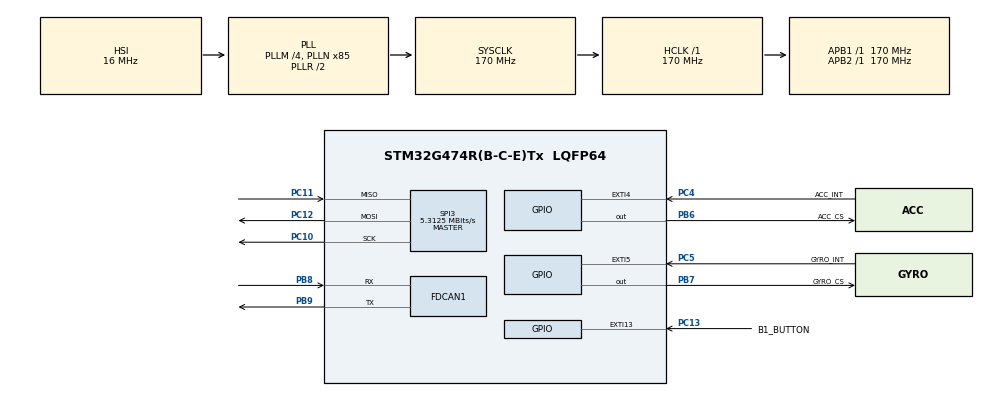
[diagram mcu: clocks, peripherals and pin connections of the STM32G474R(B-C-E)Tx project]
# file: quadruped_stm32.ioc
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FDCAN1.AutoRetransmission=ENABLE
FDCAN1.CalculateBaudRateNominal=999999
FDCAN1.CalculateTimeBitNominal=1000
FDCAN1.CalculateTimeQuantumNominal=58.82352941176471
FDCAN1.ExtFiltersNbr=1
FDCAN1.NominalPrescaler=10
FDCAN1.NominalTimeSeg1=13
FDCAN1.NominalTimeSeg2=3
Mcu.Family=STM32G4
Mcu.Name=STM32G474R(B-C-E)Tx
Mcu.Package=LQFP64
NUCLEO-G474RE.BUTTON=1
NUCLEO-G474RE.LD2=true
NUCLEO-G474RE.VCP=true
NVIC.EXTI15_10_IRQn=true\:0\:0\:false\:false\:true\:false\:true\:true
NVIC.EXTI4_IRQn=true\:0\:0\:false\:false\:true\:true\:true\:true
NVIC.EXTI9_5_IRQn=true\:0\:0\:false\:false\:true\:true\:true\:true
NVIC.FDCAN1_IT0_IRQn=true\:0\:0\:false\:false\:true\:true\:true\:true
NVIC.PriorityGroup=NVIC_PRIORITYGROUP_4
PA13.GPIO_Label=T_SWDIO
PA13.Signal=SYS_JTMS-SWDIO
PA14.GPIO_Label=T_SWCLK
PA14.Signal=SYS_JTCK-SWCLK
PA2.Signal=LPUART1_TX
PA3.Signal=LPUART1_RX
PB3.GPIO_Label=T_SWO
PB3.Signal=SYS_JTDO-SWO
PB6.GPIO_Label=ACC_CS
PB6.PinState=GPIO_PIN_SET
PB6.Signal=GPIO_Output
PB7.GPIO_Label=GYRO_CS
PB7.PinState=GPIO_PIN_SET
PB7.Signal=GPIO_Output
PB8-BOOT0.Mode=FDCAN_Activate
PB8-BOOT0.Signal=FDCAN1_RX
PB9.Mode=FDCAN_Activate
PB9.Signal=FDCAN1_TX
PC10.Mode=Full_Duplex_Master
PC10.Signal=SPI3_SCK
PC11.Mode=Full_Duplex_Master
PC11.Signal=SPI3_MISO
PC12.Mode=Full_Duplex_Master
PC12.Signal=SPI3_MOSI
PC13.GPIO_Label=B1_BUTTON
PC13.GPIO_ModeDefaultEXTI=GPIO_MODE_IT_FALLING
PC13.GPIO_PuPd=GPIO_PULLUP
PC13.Signal=GPXTI13
PC14-OSC32_IN.GPIO_Label=RCC_OSC32_IN
PC14-OSC32_IN.Signal=RCC_OSC32_IN
PC15-OSC32_OUT.GPIO_Label=RCC_OSC32_OUT
PC15-OSC32_OUT.Signal=RCC_OSC32_OUT
PC4.GPIO_Label=ACC_INT
PC4.Signal=GPXTI4
PC5.GPIO_Label=GYRO_INT
PC5.Signal=GPXTI5
PF0-OSC_IN.GPIO_Label=RCC_OSC_IN
PF0-OSC_IN.Signal=RCC_OSC_IN
PF1-OSC_OUT.GPIO_Label=RCC_OSC_OUT
PF1-OSC_OUT.Signal=RCC_OSC_OUT
ProjectManager.HeapSize=0x200
ProjectManager.StackSize=0x400
ProjectManager.TargetToolchain=STM32CubeIDE
RCC.ADC12Freq_Value=170000000
RCC.ADC345Freq_Value=170000000
RCC.AHBFreq_Value=170000000
RCC.APB1Freq_Value=170000000
RCC.APB1TimFreq_Value=170000000
RCC.APB2Freq_Value=170000000
RCC.APB2TimFreq_Value=170000000
RCC.CortexFreq_Value=170000000
RCC.EXTERNAL_CLOCK_VALUE=12288000
RCC.HCLKFreq_Value=170000000
RCC.HSE_VALUE=24000000
RCC.HSI48_VALUE=48000000
RCC.HSI_VALUE=16000000
RCC.LSE_VALUE=32768
RCC.PLLM=RCC_PLLM_DIV4
RCC.PLLN=85
RCC.RTCClockSelection=RCC_RTCCLKSOURCE_LSE
RCC.SYSCLKFreq_VALUE=170000000
RCC.SYSCLKSource=RCC_SYSCLKSOURCE_PLLCLK
RCC.USBFreq_Value=170000000
RCC.VCOOutputFreq_Value=340000000
SPI3.BaudRatePrescaler=SPI_BAUDRATEPRESCALER_32
SPI3.CalculateBaudRate=5.3125 MBits/s
SPI3.DataSize=SPI_DATASIZE_8BIT
SPI3.Direction=SPI_DIRECTION_2LINES
SPI3.Mode=SPI_MODE_MASTER
SPI3.NSSPMode=SPI_NSS_PULSE_DISABLE
SPI3.VirtualType=VM_MASTER
VP_NUCLEO-G474RE_VS_BSP_COMMON.Mode=COMMON
VP_SYS_VS_DBSignals.Mode=DisableDeadBatterySignals
board=NUCLEO-G474RE

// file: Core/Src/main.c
/* USER CODE BEGIN Header */
/**
 ******************************************************************************
 * @file           : main.c
 * @brief          : Main program body
 ******************************************************************************
 * @attention
 *
 * Copyright (c) 2026 STMicroelectronics.
 * All rights reserved.
 *
 * This software is licensed under terms that can be found in the LICENSE file
 * in the root directory of this software component.
 * If no LICENSE file comes with this software, it is provided AS-IS.
 *
 ******************************************************************************
 */
/* USER CODE END Header */
#include "main.h"

/* USER CODE BEGIN Includes */
#include "bmi088.h"
#include "robstride_can.h"
#include "robot_joints.h"
#include <stdio.h>

/* USER CODE END Includes */

/* USER CODE BEGIN PTD */

typedef enum
{
    POSE_DISABLED,
    POSE_STOPPING,
    POSE_TRANSITIONING,
    POSE_HOLDING
} PoseState_t;

/* Which pose is selected is separate from whether it is moving or holding. */
typedef enum
{
    TARGET_RETRACTED,
    TARGET_STANDING,
    TARGET_RETRACTED_BEFORE_REST,
    TARGET_RESTING
} PoseTarget_t;

typedef struct
{
    MotorId_t joint;
    const char *name;
    float target_rad;
} JointTarget_t;

/* USER CODE END PTD */

/* USER CODE BEGIN PD */
#define COMMAND_INTERVAL_MS 20U
#define COMMAND_BATCH_TIMEOUT_MS 50U

/* USER CODE END PD */

COM_InitTypeDef BspCOMInit;
FDCAN_HandleTypeDef hfdcan1;

SPI_HandleTypeDef hspi3;

/* USER CODE BEGIN PV */
static const JointTarget_t standing_targets[] =
    {
        {MOTOR_FL_HAA, "FL_HAA", 0.0f},
        {MOTOR_FL_HFE, "FL_HFE", -0.7f},
        {MOTOR_FL_KFE, "FL_KFE", 1.2f},
        {MOTOR_FR_HAA, "FR_HAA", 0.0f},
        {MOTOR_FR_HFE, "FR_HFE", -0.7f},
        {MOTOR_FR_KFE, "FR_KFE", 1.2f},
        {MOTOR_RL_HAA, "RL_HAA", 0.0f},
        {MOTOR_RL_HFE, "RL_HFE", -0.7f},
        {MOTOR_RL_KFE, "RL_KFE", 1.2f},
        {MOTOR_RR_HAA, "RR_HAA", 0.0f},
        {MOTOR_RR_HFE, "RR_HFE", -0.7f},
        {MOTOR_RR_KFE, "RR_KFE", 1.2f}};

static const JointTarget_t retracted_targets[] =
    {
        {MOTOR_FL_HAA, "FL_HAA", 0.0f},
        {MOTOR_FL_HFE, "FL_HFE", -0.852f},
        {MOTOR_FL_KFE, "FL_KFE", 2.34f},
        {MOTOR_FR_HAA, "FR_HAA", 0.0f},
        {MOTOR_FR_HFE, "FR_HFE", -0.853f},
        {MOTOR_FR_KFE, "FR_KFE", 2.34f},
        {MOTOR_RL_HAA, "RL_HAA", 0.0f},
        {MOTOR_RL_HFE, "RL_HFE", -0.877f},
        {MOTOR_RL_KFE, "RL_KFE", 2.34f},
        {MOTOR_RR_HAA, "RR_HAA", 0.0f},
        {MOTOR_RR_HFE, "RR_HFE", -0.857f},
        {MOTOR_RR_KFE, "RR_KFE", 2.34f}};

static const JointTarget_t resting_targets[] =
    {
        {MOTOR_FL_HAA, "FL_HAA", -0.47f},
        {MOTOR_FL_HFE, "FL_HFE", -0.852f},
        {MOTOR_FL_KFE, "FL_KFE", 2.34f},
        {MOTOR_FR_HAA, "FR_HAA", -0.47f},
        {MOTOR_FR_HFE, "FR_HFE", -0.853f},
        {MOTOR_FR_KFE, "FR_KFE", 2.34f},
        {MOTOR_RL_HAA, "RL_HAA", -0.47f},
        {MOTOR_RL_HFE, "RL_HFE", -0.877f},
        {MOTOR_RL_KFE, "RL_KFE", 2.34f},
        {MOTOR_RR_HAA, "RR_HAA", -0.47f},
        {MOTOR_RR_HFE, "RR_HFE", -0.857f},
        {MOTOR_RR_KFE, "RR_KFE", 2.34f}};

#define POSE_JOINT_COUNT (sizeof(standing_targets) / sizeof(standing_targets[0]))

_Static_assert(POSE_JOINT_COUNT == ROBSTRIDE_MOTOR_COUNT, "Pose must cover all motors");
_Static_assert(sizeof(retracted_targets) == sizeof(standing_targets), "Pose sizes must match");
_Static_assert(sizeof(resting_targets) == sizeof(standing_targets), "Pose sizes must match");

static const JointTarget_t *active_targets = retracted_targets;
static PoseTarget_t selected_pose = TARGET_RETRACTED;
static const char *active_pose_name = "retracted";

float start_positions_rad[POSE_JOINT_COUNT];
uint32_t transition_start_ms;
uint32_t last_command_ms;
uint32_t last_batch_duration_ms = 0;
uint32_t max_batch_duration_ms = 0;
uint8_t next_joint_index = 0;
uint8_t batch_in_progress = 0;
uint32_t batch_start_ms;
float batch_progress = 0.0f;
uint32_t last_batch_gap_ms = 0;
uint32_t max_batch_gap_ms = 0;
uint8_t have_previous_batch = 0;
/* Powered actuators may still be active after an MCU-only reset. */
PoseState_t pose_state = POSE_STOPPING;

volatile uint8_t acc_data_ready = 0;
volatile uint8_t gyro_data_ready = 0;
volatile uint8_t user_button_pressed = 0;
volatile uint32_t last_button_irq = 0;

volatile uint32_t acc_irq_count = 0;
volatile uint32_t gyro_irq_count = 0;
/* USER CODE END PV */

void SystemClock_Config(void);
static void MX_GPIO_Init(void);
static void MX_FDCAN1_Init(void);
static void MX_SPI3_Init(void);

/* USER CODE BEGIN 0 */
static const char *JointHealthReason(JointResult_t result)
{
    switch (result)
    {
        case JOINT_OK: return "healthy";
        case JOINT_INVALID_ID: return "invalid joint ID";
        case JOINT_OFFLINE: return "offline or state unavailable";
        case JOINT_FAULT: return "motor fault reported";
        case JOINT_NO_FEEDBACK: return "no measurement feedback received";
        case JOINT_STALE_FEEDBACK: return "measurement feedback stale";
        default: return "unexpected joint result";
    }
}

/* Supported-test policy: cancel motion and request all motors stop.
 * Disabling removes support; this is not a controlled ground-standing recovery.
 */
static void MonitorPoseHealth(void)
{
    if (pose_state != POSE_TRANSITIONING && pose_state != POSE_HOLDING)
    {
        return;
    }

    for (uint8_t i = 0; i < POSE_JOINT_COUNT; i++)
    {
        JointResult_t health = RobotJoints_CheckHealth(active_targets[i].joint);
        if (health != JOINT_OK)
        {
            batch_in_progress = 0;
            pose_state = POSE_STOPPING;
            user_button_pressed = 0;
            /* Report once: subsequent checks skip POSE_STOPPING. */
            printf("%s unhealthy: %s; requesting all motors stop\r\n",
                   active_targets[i].name, JointHealthReason(health));
            return;
        }
    }
}

/* Return true only when every stop request was queued successfully. */
static uint8_t StopAllJoints(void)
{
    uint8_t all_stopped = 1;

    for (uint8_t i = 0; i < POSE_JOINT_COUNT; i++)
    {
        JointResult_t result = RobotJoints_Stop(active_targets[i].joint);
        if (result != JOINT_OK)
        {
            printf("%s stop failed: %d\r\n", active_targets[i].name, result);
            all_stopped = 0;
        }
        HAL_Delay(2);
        RobStride_CAN_Process();
    }

    batch_in_progress = 0;
    if (all_stopped)
    {
        /* Discard presses received while stop requests were being submitted. */
        user_button_pressed = 0;
        pose_state = POSE_DISABLED;
        selected_pose = TARGET_RETRACTED;
        active_targets = retracted_targets;
        active_pose_name = "retracted";
    }

    return all_stopped;
}

/* Validate the whole destination and capture measured starts before moving. */
static void StartPoseTransition(PoseTarget_t requested_pose)
{
    if (pose_state != POSE_DISABLED && pose_state != POSE_HOLDING)
    {
        return;
    }

    const JointTarget_t *targets;
    const char *name;

    switch (requested_pose)
    {
        case TARGET_RETRACTED:
            targets = retracted_targets;
            name = "retracted";
            break;
        case TARGET_STANDING:
            targets = standing_targets;
            name = "standing";
            break;
        case TARGET_RETRACTED_BEFORE_REST:
            targets = retracted_targets;
            name = "retracted before resting";
            break;
        case TARGET_RESTING:
            targets = resting_targets;
            name = "resting";
            break;
        default:
            return;
    }

    uint8_t targets_valid = 1;
    for (uint8_t i = 0; i < POSE_JOINT_COUNT; i++)
    {
        if (RobotJoints_ValidatePosition(targets[i].joint,
                                        targets[i].target_rad) != JOINT_OK)
        {
            printf("%s rejected: %s target=%+.5f rad outside command limits\r\n",
                   name, targets[i].name, targets[i].target_rad);
            targets_valid = 0;
        }
    }
    if (!targets_valid)
    {
        return;
    }

    RobStride_CAN_Process();
    RobStride_UpdateOnlineStatus();
    uint8_t ready = 1;
    for (uint8_t i = 0; i < POSE_JOINT_COUNT; i++)
    {
        JointState_t state;
        JointResult_t health = RobotJoints_CheckHealth(targets[i].joint);
        if (health != JOINT_OK)
        {
            printf("%s not ready: %s\r\n",
                   targets[i].name, JointHealthReason(health));
            ready = 0;
        }
        else if (!RobotJoints_GetState(targets[i].joint, &state))
        {
            printf("%s not ready: state unavailable\r\n", targets[i].name);
            ready = 0;
        }
        else if (!RobotJoints_PrepareStartPosition(targets[i].joint,
                                                  state.position_rad,
                                                  &start_positions_rad[i]))
        {
            printf("%s starting position rejected: %+.5f rad\r\n",
                   targets[i].name, state.position_rad);
            ready = 0;
        }
    }
    if (!ready)
    {
        if (pose_state != POSE_DISABLED)
        {
            batch_in_progress = 0;
            pose_state = POSE_STOPPING;
        }
        return;
    }

    /* Motors stay enabled between poses; only the first press enables them. */
    if (pose_state == POSE_DISABLED)
    {
        for (uint8_t i = 0; i < POSE_JOINT_COUNT; i++)
        {
            JointResult_t result = RobotJoints_Enable(targets[i].joint);
            if (result != JOINT_OK)
            {
                printf("%s enable failed: %d\r\n", targets[i].name, result);
                batch_in_progress = 0;
                pose_state = POSE_STOPPING;
                return;
            }
            HAL_Delay(2);
            RobStride_CAN_Process();
        }
    }

    active_targets = targets;
    selected_pose = requested_pose;
    active_pose_name = name;
    next_joint_index = 0;
    batch_in_progress = 0;
    batch_progress = 0.0f;
    have_previous_batch = 0;
    last_batch_gap_ms = 0;
    max_batch_gap_ms = 0;
    last_batch_duration_ms = 0;
    max_batch_duration_ms = 0;

    printf("Moving to %s over 2 seconds\r\n", name);
    transition_start_ms = HAL_GetTick();
    last_command_ms = transition_start_ms - COMMAND_INTERVAL_MS;
    pose_state = POSE_TRANSITIONING;
}

/* USER CODE END 0 */

int main(void)
{

    /* MCU Configuration--------------------------------------------------------*/

    /* Reset of all peripherals, Initializes the Flash interface and the Systick. */
    HAL_Init();

    /* Configure the system clock */
    SystemClock_Config();

    /* Initialize all configured peripherals */
    MX_GPIO_Init();
    MX_FDCAN1_Init();
    MX_SPI3_Init();

    /* Initialize led */
    BSP_LED_Init(LED_GREEN);

    /* Initialize USER push-button, will be used to trigger an interrupt each time it's pressed.*/
    BSP_PB_Init(BUTTON_USER, BUTTON_MODE_EXTI);

    /* Initialize COM1 port (115200, 8 bits (7-bit data + 1 stop bit), no parity */
    BspCOMInit.BaudRate = 115200;
    BspCOMInit.WordLength = COM_WORDLENGTH_8B;
    BspCOMInit.StopBits = COM_STOPBITS_1;
    BspCOMInit.Parity = COM_PARITY_NONE;
    BspCOMInit.HwFlowCtl = COM_HWCONTROL_NONE;
    if (BSP_COM_Init(COM1, &BspCOMInit) != BSP_ERROR_NONE)
    {
        Error_Handler();
    }

    /* Infinite loop */
    /* USER CODE BEGIN WHILE */

    RobotJoints_Init();

    if (!RobStride_CAN_Init())
    {
        printf("CAN init failed; startup blocked, motor stops not confirmed\r\n");
        Error_Handler();
    }
    else
    {
        printf("CAN init success\r\n");

        /* Stop before discovery, reporting setup, or IMU initialization.
         * RobotJoints_Stop does not require a motor to be discovered/online.
         * Stay here on submission failure; pose/button handling cannot run.
         */
        while (!StopAllJoints())
        {
            user_button_pressed = 0;
        }
        printf("Startup: all 12 stop requests queued; motor disable unconfirmed\r\n");

        RobStride_RequestAllDeviceIDs();

        HAL_Delay(200);

        /*
         * responses are sitting in FIFO0,
         * so process them before inspecting states.
         */
        RobStride_CAN_Process();

        RobStride_SetAllActiveReporting(1);

        uint8_t online_count = 0;

        for (uint8_t id = 1; id <= ROBSTRIDE_MOTOR_COUNT; id++)
        {
            const RobStride_Motor_t *motor =
                RobStride_GetMotor((MotorId_t)id);

            if (motor != NULL && motor->online)
            {
                printf("Motor %2u: ONLINE\r\n", id);
                online_count++;
            }
            else
            {
                printf("Motor %2u: OFFLINE\r\n", id);
            }
        }

        printf("%u/%u motors online\r\n",
               online_count,
               ROBSTRIDE_MOTOR_COUNT);
    }

    if (!BMI088_Init())
    {
        printf("BMI088 init failed\r\n");
    }
    else
    {
        printf("BMI088 init success\r\n");
    }

    printf("Feedback timeout: %lu ms (provisional supported-test limit)\r\n",
           (unsigned long)ROBOT_FEEDBACK_TIMEOUT_MS);
    printf("Startup complete; press button to begin\r\n");
    /* Also discard presses during discovery, IMU init, and startup logging. */
    user_button_pressed = 0;

    uint32_t last_joint_print = 0;

    while (1)
    {
        RobStride_CAN_Process();

        RobStride_UpdateOnlineStatus();

        MonitorPoseHealth();

        if ((pose_state == POSE_DISABLED || pose_state == POSE_HOLDING) &&
            HAL_GetTick() - last_joint_print >= 800)
        {
            last_joint_print = HAL_GetTick();
            printf("Pose: %s, %s\r\n", active_pose_name,
                   pose_state == POSE_DISABLED ? "DISABLED (next target)" : "HOLDING");

            for (uint8_t id = 1; id <= ROBSTRIDE_MOTOR_COUNT; id++)
            {
                JointState_t state;

                if (RobotJoints_GetState((MotorId_t)id, &state))
                {
                    printf(
                        "Motor %2u: joint=%+.4f rad, torque=%+.3f Nm, temp=%.1f C, %s",
                        id,
                        state.position_rad,
                        state.torque_nm,
                        state.temperature_c,
                        state.online ? "ONLINE" : "OFFLINE");
                    if (state.feedback_received)
                    {
                        printf(", feedback age=%lu ms, gap last/max=%lu/%lu ms%s",
                               (unsigned long)state.feedback_age_ms,
                               (unsigned long)state.feedback_gap_last_ms,
                               (unsigned long)state.feedback_gap_max_ms,
                               state.feedback_age_ms >= ROBOT_FEEDBACK_TIMEOUT_MS
                                   ? " STALE" : "");
                    }
                    else
                    {
                        printf(", NO MEASUREMENT FEEDBACK");
                    }
                    for (uint8_t i = 0; i < POSE_JOINT_COUNT; i++)
                    {
                        if ((MotorId_t)id == active_targets[i].joint)
                        {
                            /* Signed remaining angle: target minus feedback. */
                            printf(
                                ", %s target=%+.4f rad, error=%+.4f rad",
                                active_targets[i].name,
                                active_targets[i].target_rad,
                                active_targets[i].target_rad - state.position_rad);
                            break;
                        }
                    }
                    printf("\r\n");
                }
                else
                {
                    printf("Motor %2u: state unavailable\r\n", id);
                }
                /* Service feedback between the blocking serial output lines. */
                RobStride_CAN_Process();
                RobStride_UpdateOnlineStatus();
                MonitorPoseHealth();
                if (pose_state == POSE_STOPPING)
                {
                    break;
                }
            }
            if (pose_state != POSE_STOPPING)
            {
                printf(
                    "Batch duration: last=%lu max=%lu ms; "
                    "start gap: last=%lu max=%lu ms\r\n",
                    (unsigned long)last_batch_duration_ms,
                    (unsigned long)max_batch_duration_ms,
                    (unsigned long)last_batch_gap_ms,
                    (unsigned long)max_batch_gap_ms
                );
            }
        }

        if (user_button_pressed)
        {
            user_button_pressed = 0;

            if (pose_state == POSE_TRANSITIONING)
            {
                printf("Still moving to %s; press again after the ramp finishes\r\n",
                       active_pose_name);
            }
            else if (pose_state == POSE_STOPPING)
            {
                /* The stop handler below retries all stop requests. */
            }
            else if (pose_state == POSE_DISABLED)
            {
                StartPoseTransition(TARGET_RETRACTED);
            }
            else if (selected_pose == TARGET_RETRACTED)
            {
                StartPoseTransition(TARGET_STANDING);
            }
            else if (selected_pose == TARGET_STANDING)
            {
                StartPoseTransition(TARGET_RETRACTED_BEFORE_REST);
            }
            else if (selected_pose == TARGET_RETRACTED_BEFORE_REST)
            {
                StartPoseTransition(TARGET_RESTING);
            }
            else
            {
                batch_in_progress = 0;
                pose_state = POSE_STOPPING;
            }
        }
        /* Starting a pose can process new feedback while enabling motors.
         * Recheck it before submitting any position command.
         */
        RobStride_CAN_Process();
        RobStride_UpdateOnlineStatus();
        MonitorPoseHealth();

        if (pose_state == POSE_TRANSITIONING)
        {
            uint32_t now = HAL_GetTick();

            /* Start a new batch only when the previous one is finished and time is due. */
            if (!batch_in_progress &&
                now - last_command_ms >= COMMAND_INTERVAL_MS)
            {
                if (have_previous_batch)
                {
                    last_batch_gap_ms = now - last_command_ms;

                    if (last_batch_gap_ms > max_batch_gap_ms)
                    {
                        max_batch_gap_ms = last_batch_gap_ms;
                    }
                }

                have_previous_batch = 1;

                next_joint_index = 0;
                batch_start_ms = now;
                last_command_ms = now;

                uint32_t elapsed_ms = now - transition_start_ms;
                batch_progress = (float)elapsed_ms / 2000.0f;

                if (batch_progress > 1.0f)
                {
                    batch_progress = 1.0f;
                }

                batch_in_progress = 1;
            }

            if (batch_in_progress &&
                now - batch_start_ms >= COMMAND_BATCH_TIMEOUT_MS)
            {
                batch_in_progress = 0;
                pose_state = POSE_STOPPING;

                printf("Batch timeout: queued %u/%u commands\r\n",
                    (unsigned int)next_joint_index,
                    (unsigned int)POSE_JOINT_COUNT);
            }

            /* Attempt at most one command per main-loop pass. */
            if (batch_in_progress && RobStride_CAN_CanSend())
            {
                uint8_t i = next_joint_index;

                float s = batch_progress;
                float smooth_progress = s * s * (3.0f - 2.0f * s);

                float target =
                    start_positions_rad[i]
                    + (active_targets[i].target_rad - start_positions_rad[i])
                    * smooth_progress;

                JointResult_t result = RobotJoints_Command(
                    active_targets[i].joint,
                    target,
                    0.0f,
                    0.0f,
                    60.0f,
                    5.0f);

                if (result != JOINT_OK)
                {
                    printf("%s command failed: %d\r\n",
                        active_targets[i].name, result);

                    batch_in_progress = 0;
                    pose_state = POSE_STOPPING;
                }
                else
                {
                    next_joint_index++;

                    if (next_joint_index == POSE_JOINT_COUNT)
                    {
                        batch_in_progress = 0;

                        last_batch_duration_ms =
                            HAL_GetTick() - batch_start_ms;

                        if (last_batch_duration_ms > max_batch_duration_ms)
                        {
                            max_batch_duration_ms = last_batch_duration_ms;
                        }

                        if (batch_progress >= 1.0f)
                        {
                            pose_state = POSE_HOLDING;
                            printf("%s ramp finished; final targets queued\r\n",
                                   active_pose_name);
                        }
                    }
                }
            }
        }

        if (pose_state == POSE_STOPPING)
        {
            if (StopAllJoints())
            {
                printf("All 12 joint stop requests queued\r\n");
            }
        }
    }
    /* USER CODE END WHILE */

}

void SystemClock_Config(void)
{
    RCC_OscInitTypeDef RCC_OscInitStruct = {0};
    RCC_ClkInitTypeDef RCC_ClkInitStruct = {0};

    /** Configure the main internal regulator output voltage
     */
    HAL_PWREx_ControlVoltageScaling(PWR_REGULATOR_VOLTAGE_SCALE1_BOOST);

    /** Initializes the RCC Oscillators according to the specified parameters
     * in the RCC_OscInitTypeDef structure.
     */
    RCC_OscInitStruct.OscillatorType = RCC_OSCILLATORTYPE_HSI;
    RCC_OscInitStruct.HSIState = RCC_HSI_ON;
    RCC_OscInitStruct.HSICalibrationValue = RCC_HSICALIBRATION_DEFAULT;
    RCC_OscInitStruct.PLL.PLLState = RCC_PLL_ON;
    RCC_OscInitStruct.PLL.PLLSource = RCC_PLLSOURCE_HSI;
    RCC_OscInitStruct.PLL.PLLM = RCC_PLLM_DIV4;
    RCC_OscInitStruct.PLL.PLLN = 85;
    RCC_OscInitStruct.PLL.PLLP = RCC_PLLP_DIV2;
    RCC_OscInitStruct.PLL.PLLQ = RCC_PLLQ_DIV2;
    RCC_OscInitStruct.PLL.PLLR = RCC_PLLR_DIV2;
    if (HAL_RCC_OscConfig(&RCC_OscInitStruct) != HAL_OK)
    {
        Error_Handler();
    }

    /** Initializes the CPU, AHB and APB buses clocks
     */
    RCC_ClkInitStruct.ClockType = RCC_CLOCKTYPE_HCLK | RCC_CLOCKTYPE_SYSCLK | RCC_CLOCKTYPE_PCLK1 | RCC_CLOCKTYPE_PCLK2;
    RCC_ClkInitStruct.SYSCLKSource = RCC_SYSCLKSOURCE_PLLCLK;
    RCC_ClkInitStruct.AHBCLKDivider = RCC_SYSCLK_DIV1;
    RCC_ClkInitStruct.APB1CLKDivider = RCC_HCLK_DIV1;
    RCC_ClkInitStruct.APB2CLKDivider = RCC_HCLK_DIV1;

    if (HAL_RCC_ClockConfig(&RCC_ClkInitStruct, FLASH_LATENCY_4) != HAL_OK)
    {
        Error_Handler();
    }
}

static void MX_FDCAN1_Init(void)
{

    hfdcan1.Instance = FDCAN1;
    hfdcan1.Init.ClockDivider = FDCAN_CLOCK_DIV1;
    hfdcan1.Init.FrameFormat = FDCAN_FRAME_CLASSIC;
    hfdcan1.Init.Mode = FDCAN_MODE_NORMAL;
    hfdcan1.Init.AutoRetransmission = ENABLE;
    hfdcan1.Init.TransmitPause = DISABLE;
    hfdcan1.Init.ProtocolException = DISABLE;
    hfdcan1.Init.NominalPrescaler = 10;
    hfdcan1.Init.NominalSyncJumpWidth = 1;
    hfdcan1.Init.NominalTimeSeg1 = 13;
    hfdcan1.Init.NominalTimeSeg2 = 3;
    hfdcan1.Init.DataPrescaler = 1;
    hfdcan1.Init.DataSyncJumpWidth = 1;
    hfdcan1.Init.DataTimeSeg1 = 1;
    hfdcan1.Init.DataTimeSeg2 = 1;
    hfdcan1.Init.StdFiltersNbr = 0;
    hfdcan1.Init.ExtFiltersNbr = 1;
    hfdcan1.Init.TxFifoQueueMode = FDCAN_TX_FIFO_OPERATION;
    if (HAL_FDCAN_Init(&hfdcan1) != HAL_OK)
    {
        Error_Handler();
    }
}

static void MX_SPI3_Init(void)
{

    /* SPI3 parameter configuration*/
    hspi3.Instance = SPI3;
    hspi3.Init.Mode = SPI_MODE_MASTER;
    hspi3.Init.Direction = SPI_DIRECTION_2LINES;
    hspi3.Init.DataSize = SPI_DATASIZE_8BIT;
    hspi3.Init.CLKPolarity = SPI_POLARITY_LOW;
    hspi3.Init.CLKPhase = SPI_PHASE_1EDGE;
    hspi3.Init.NSS = SPI_NSS_SOFT;
    hspi3.Init.BaudRatePrescaler = SPI_BAUDRATEPRESCALER_32;
    hspi3.Init.FirstBit = SPI_FIRSTBIT_MSB;
    hspi3.Init.TIMode = SPI_TIMODE_DISABLE;
    hspi3.Init.CRCCalculation = SPI_CRCCALCULATION_DISABLE;
    hspi3.Init.CRCPolynomial = 7;
    hspi3.Init.CRCLength = SPI_CRC_LENGTH_DATASIZE;
    hspi3.Init.NSSPMode = SPI_NSS_PULSE_DISABLE;
    if (HAL_SPI_Init(&hspi3) != HAL_OK)
    {
        Error_Handler();
    }
}

static void MX_GPIO_Init(void)
{
    GPIO_InitTypeDef GPIO_InitStruct = {0};

    /* GPIO Ports Clock Enable */
    __HAL_RCC_GPIOC_CLK_ENABLE();
    __HAL_RCC_GPIOF_CLK_ENABLE();
    __HAL_RCC_GPIOA_CLK_ENABLE();
    __HAL_RCC_GPIOB_CLK_ENABLE();

    /*Configure GPIO pin Output Level */
    HAL_GPIO_WritePin(GPIOB, ACC_CS_Pin | GYRO_CS_Pin, GPIO_PIN_SET);

    /*Configure GPIO pin : B1_BUTTON_Pin */
    GPIO_InitStruct.Pin = B1_BUTTON_Pin;
    GPIO_InitStruct.Mode = GPIO_MODE_IT_FALLING;
    GPIO_InitStruct.Pull = GPIO_PULLUP;
    HAL_GPIO_Init(B1_BUTTON_GPIO_Port, &GPIO_InitStruct);

    /*Configure GPIO pins : ACC_INT_Pin GYRO_INT_Pin */
    GPIO_InitStruct.Pin = ACC_INT_Pin | GYRO_INT_Pin;
    GPIO_InitStruct.Mode = GPIO_MODE_IT_RISING;
    GPIO_InitStruct.Pull = GPIO_NOPULL;
    HAL_GPIO_Init(GPIOC, &GPIO_InitStruct);

    /*Configure GPIO pins : ACC_CS_Pin GYRO_CS_Pin */
    GPIO_InitStruct.Pin = ACC_CS_Pin | GYRO_CS_Pin;
    GPIO_InitStruct.Mode = GPIO_MODE_OUTPUT_PP;
    GPIO_InitStruct.Pull = GPIO_NOPULL;
    GPIO_InitStruct.Speed = GPIO_SPEED_FREQ_LOW;
    HAL_GPIO_Init(GPIOB, &GPIO_InitStruct);

    /* EXTI interrupt init*/
    HAL_NVIC_SetPriority(EXTI4_IRQn, 0, 0);
    HAL_NVIC_EnableIRQ(EXTI4_IRQn);

    HAL_NVIC_SetPriority(EXTI9_5_IRQn, 0, 0);
    HAL_NVIC_EnableIRQ(EXTI9_5_IRQn);

    HAL_NVIC_SetPriority(EXTI15_10_IRQn, 0, 0);
    HAL_NVIC_EnableIRQ(EXTI15_10_IRQn);

}

/* USER CODE BEGIN 4 */

void HAL_GPIO_EXTI_Callback(uint16_t GPIO_Pin)
{
    if (GPIO_Pin == ACC_INT_Pin)
    {
        acc_data_ready = 1;
        acc_irq_count++;
    }

    if (GPIO_Pin == GYRO_INT_Pin)
    {
        gyro_data_ready = 1;
        gyro_irq_count++;
    }

    if (GPIO_Pin == B1_BUTTON_Pin)
    {
        uint32_t now = HAL_GetTick();

        if (now - last_button_irq > 50)
        {
            last_button_irq = now;
            user_button_pressed = 1;
        }
    }
}

/* USER CODE END 4 */

void Error_Handler(void)
{
    __disable_irq();
    while (1)
    {
    }
}
